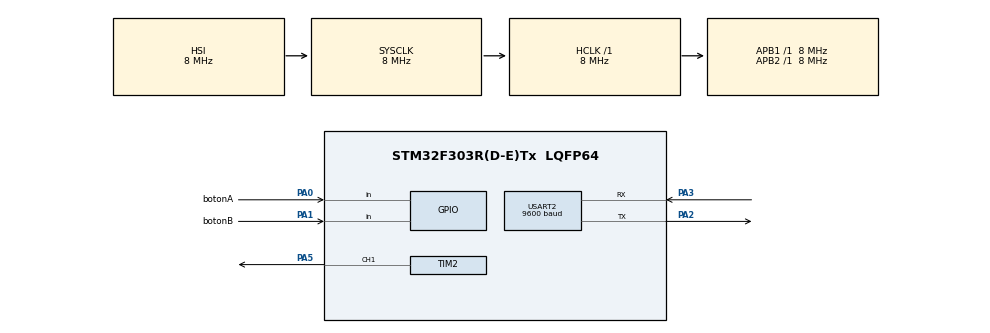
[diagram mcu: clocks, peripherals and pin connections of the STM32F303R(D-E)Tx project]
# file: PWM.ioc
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Mcu.Family=STM32F3
Mcu.Name=STM32F303R(D-E)Tx
Mcu.Package=LQFP64
NVIC.PriorityGroup=NVIC_PRIORITYGROUP_4
PA0.GPIO_Label=botonA
PA0.Signal=GPIO_Input
PA1.GPIO_Label=botonB
PA1.Signal=GPIO_Input
PA2.Mode=Asynchronous
PA2.Signal=USART2_TX
PA3.Mode=Asynchronous
PA3.Signal=USART2_RX
PA5.Signal=S_TIM2_CH1_ETR
ProjectManager.HeapSize=0x200
ProjectManager.StackSize=0x400
ProjectManager.TargetToolchain=STM32CubeIDE
RCC.AHBFreq_Value=8000000
RCC.APB1Freq_Value=8000000
RCC.APB2Freq_Value=8000000
RCC.CortexFreq_Value=8000000
RCC.HSE_VALUE=8000000
RCC.HSI_VALUE=8000000
RCC.LSE_VALUE=32768
RCC.SYSCLKFreq_VALUE=8000000
RCC.USBFreq_Value=16000000
SH.S_TIM2_CH1_ETR.0=TIM2_CH1,PWM Generation1 CH1
TIM2.Channel-PWM\ Generation1\ CH1=TIM_CHANNEL_1
TIM2.Period=999
TIM2.Prescaler=499
USART2.BaudRate=9600
USART2.VirtualMode-Asynchronous=VM_ASYNC
board=custom

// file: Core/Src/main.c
/* USER CODE BEGIN Header */
/**
  ******************************************************************************
  * @file           : main.c
  * @brief          : Main program body
  ******************************************************************************
  * @attention
  *
  * Copyright (c) 2022 STMicroelectronics.
  * All rights reserved.
  *
  * This software is licensed under terms that can be found in the LICENSE file
  * in the root directory of this software component.
  * If no LICENSE file comes with this software, it is provided AS-IS.
  *
  ******************************************************************************
  */
/* USER CODE END Header */
#include "main.h"
/* USER CODE BEGIN Includes */
#include <string.h>
#include <stdio.h>
/* USER CODE END Includes */

 TIM_HandleTypeDef htim2;

UART_HandleTypeDef huart2;

/* USER CODE BEGIN PV */
char msg[20];
char msgT[20];
int toggle = 0;
int i = 0;

/* USER CODE END PV */

void SystemClock_Config(void);
static void MX_GPIO_Init(void);
static void MX_TIM2_Init(void);
static void MX_USART2_UART_Init(void);

int main(void)
{

  /* MCU Configuration--------------------------------------------------------*/

  /* Reset of all peripherals, Initializes the Flash interface and the Systick. */
  HAL_Init();

  /* USER CODE BEGIN Init */
  HAL_TIM_PWM_Start(&htim2, TIM_CHANNEL_1);

  /* USER CODE END Init */

  /* Configure the system clock */
  SystemClock_Config();

  /* Initialize all configured peripherals */
  MX_GPIO_Init();
  MX_TIM2_Init();
  MX_USART2_UART_Init();

  /* USER CODE BEGIN 2 */
  uint16_t dutyCycle = HAL_TIM_ReadCapturedValue(&htim2, TIM_CHANNEL_1);
  /* USER CODE END 2 */

  /* Infinite loop */
  /* USER CODE BEGIN WHILE */
  while (1)
  {
	  //toggle A button
	  if(HAL_GPIO_ReadPin(GPIOA, botonA_Pin)){
		  toggle = 1;
	  }
	  if(!HAL_GPIO_ReadPin(GPIOA, botonA_Pin)){
		  toggle = 0;
	  }

	  //increment/decrement buttons
	  if(toggle==1 && HAL_GPIO_ReadPin(GPIOA, botonB_Pin)==1
	     && i<10){
		  ++i;
	  }
	  if(toggle==0 && HAL_GPIO_ReadPin(GPIOA, botonB_Pin)==1
		 && i>0){
		  --i;
	  }
	  dutyCycle = __HAL_TIM_GET_AUTORELOAD(&htim2);

	  switch(i){
	  	  case 0:
	  		  __HAL_TIM_SET_COMPARE(&htim2, TIM_CHANNEL_1,
	  				  	  	        dutyCycle*0);
	  	  break;

		  case 1:
			  __HAL_TIM_SET_COMPARE(&htim2, TIM_CHANNEL_1,
					  	  	  	  	dutyCycle*0.1);
		  break;

		  case 2:
			  __HAL_TIM_SET_COMPARE(&htim2, TIM_CHANNEL_1,
				  	  	  	  		dutyCycle*0.2);
		  break;

		  case 3:
			  __HAL_TIM_SET_COMPARE(&htim2, TIM_CHANNEL_1,
				  	  	  	  		dutyCycle*0.3);
		  break;

		  case 4:
			  __HAL_TIM_SET_COMPARE(&htim2, TIM_CHANNEL_1,
				  	  	  	    	dutyCycle*0.4);
		  break;

		  case 5:
			  __HAL_TIM_SET_COMPARE(&htim2, TIM_CHANNEL_1,
					  	  	  	  	dutyCycle*0.5);
		  break;

		  case 6:
			  __HAL_TIM_SET_COMPARE(&htim2, TIM_CHANNEL_1,
				  	  	  	    	dutyCycle*0.6);
		  break;

		  case 7:
			  __HAL_TIM_SET_COMPARE(&htim2, TIM_CHANNEL_1,
				  	  	  	    	dutyCycle*0.7);
		  break;

		  case 8:
			  __HAL_TIM_SET_COMPARE(&htim2, TIM_CHANNEL_1,
					  	  	  	  	dutyCycle*0.8);
		  break;

		  case 9:
			  __HAL_TIM_SET_COMPARE(&htim2, TIM_CHANNEL_1,
		 							dutyCycle*0.9);
		  break;

		  case 10:
			  __HAL_TIM_SET_COMPARE(&htim2, TIM_CHANNEL_1,
				  	  	  	    	dutyCycle);
		  break;
	  }
	  sprintf(msg, "%hu\r\n", i);
	  sprintf(msgT,"%hu\r\n", toggle);
	  HAL_UART_Transmit(&huart2, (uint8_t*)msg,  strlen(msg),
			  	  	    HAL_MAX_DELAY);
	  HAL_UART_Transmit(&huart2, (uint8_t*)msgT, strlen(msgT),
			  	  	    HAL_MAX_DELAY);
	  HAL_Delay(100);
    /* USER CODE END WHILE */

  }
}

void SystemClock_Config(void)
{
  RCC_OscInitTypeDef RCC_OscInitStruct = {0};
  RCC_ClkInitTypeDef RCC_ClkInitStruct = {0};
  RCC_PeriphCLKInitTypeDef PeriphClkInit = {0};

  /** Initializes the RCC Oscillators according to the specified parameters
  * in the RCC_OscInitTypeDef structure.
  */
  RCC_OscInitStruct.OscillatorType = RCC_OSCILLATORTYPE_HSI;
  RCC_OscInitStruct.HSIState = RCC_HSI_ON;
  RCC_OscInitStruct.HSICalibrationValue = RCC_HSICALIBRATION_DEFAULT;
  RCC_OscInitStruct.PLL.PLLState = RCC_PLL_NONE;
  if (HAL_RCC_OscConfig(&RCC_OscInitStruct) != HAL_OK)
  {
    Error_Handler();
  }

  /** Initializes the CPU, AHB and APB buses clocks
  */
  RCC_ClkInitStruct.ClockType = RCC_CLOCKTYPE_HCLK|RCC_CLOCKTYPE_SYSCLK
                              |RCC_CLOCKTYPE_PCLK1|RCC_CLOCKTYPE_PCLK2;
  RCC_ClkInitStruct.SYSCLKSource = RCC_SYSCLKSOURCE_HSI;
  RCC_ClkInitStruct.AHBCLKDivider = RCC_SYSCLK_DIV1;
  RCC_ClkInitStruct.APB1CLKDivider = RCC_HCLK_DIV1;
  RCC_ClkInitStruct.APB2CLKDivider = RCC_HCLK_DIV1;

  if (HAL_RCC_ClockConfig(&RCC_ClkInitStruct, FLASH_LATENCY_0) != HAL_OK)
  {
    Error_Handler();
  }
  PeriphClkInit.PeriphClockSelection = RCC_PERIPHCLK_USART2|RCC_PERIPHCLK_TIM2;
  PeriphClkInit.Usart2ClockSelection = RCC_USART2CLKSOURCE_PCLK1;
  PeriphClkInit.Tim2ClockSelection = RCC_TIM2CLK_HCLK;
  if (HAL_RCCEx_PeriphCLKConfig(&PeriphClkInit) != HAL_OK)
  {
    Error_Handler();
  }
}

static void MX_TIM2_Init(void)
{

  TIM_MasterConfigTypeDef sMasterConfig = {0};
  TIM_OC_InitTypeDef sConfigOC = {0};

  htim2.Instance = TIM2;
  htim2.Init.Prescaler = 499;
  htim2.Init.CounterMode = TIM_COUNTERMODE_UP;
  htim2.Init.Period = 999;
  htim2.Init.ClockDivision = TIM_CLOCKDIVISION_DIV1;
  htim2.Init.AutoReloadPreload = TIM_AUTORELOAD_PRELOAD_DISABLE;
  if (HAL_TIM_PWM_Init(&htim2) != HAL_OK)
  {
    Error_Handler();
  }
  sMasterConfig.MasterOutputTrigger = TIM_TRGO_RESET;
  sMasterConfig.MasterSlaveMode = TIM_MASTERSLAVEMODE_DISABLE;
  if (HAL_TIMEx_MasterConfigSynchronization(&htim2, &sMasterConfig) != HAL_OK)
  {
    Error_Handler();
  }
  sConfigOC.OCMode = TIM_OCMODE_PWM1;
  sConfigOC.Pulse = 0;
  sConfigOC.OCPolarity = TIM_OCPOLARITY_HIGH;
  sConfigOC.OCFastMode = TIM_OCFAST_DISABLE;
  if (HAL_TIM_PWM_ConfigChannel(&htim2, &sConfigOC, TIM_CHANNEL_1) != HAL_OK)
  {
    Error_Handler();
  }
  HAL_TIM_MspPostInit(&htim2);

}

static void MX_USART2_UART_Init(void)
{

  huart2.Instance = USART2;
  huart2.Init.BaudRate = 9600;
  huart2.Init.WordLength = UART_WORDLENGTH_8B;
  huart2.Init.StopBits = UART_STOPBITS_1;
  huart2.Init.Parity = UART_PARITY_NONE;
  huart2.Init.Mode = UART_MODE_TX_RX;
  huart2.Init.HwFlowCtl = UART_HWCONTROL_NONE;
  huart2.Init.OverSampling = UART_OVERSAMPLING_16;
  huart2.Init.OneBitSampling = UART_ONE_BIT_SAMPLE_DISABLE;
  huart2.AdvancedInit.AdvFeatureInit = UART_ADVFEATURE_NO_INIT;
  if (HAL_UART_Init(&huart2) != HAL_OK)
  {
    Error_Handler();
  }

}

static void MX_GPIO_Init(void)
{
  GPIO_InitTypeDef GPIO_InitStruct = {0};

  /* GPIO Ports Clock Enable */
  __HAL_RCC_GPIOA_CLK_ENABLE();

  /*Configure GPIO pins : botonA_Pin botonB_Pin */
  GPIO_InitStruct.Pin = botonA_Pin|botonB_Pin;
  GPIO_InitStruct.Mode = GPIO_MODE_INPUT;
  GPIO_InitStruct.Pull = GPIO_NOPULL;
  HAL_GPIO_Init(GPIOA, &GPIO_InitStruct);

}

void Error_Handler(void)
{
  __disable_irq();
  while (1)
  {
  }
}
